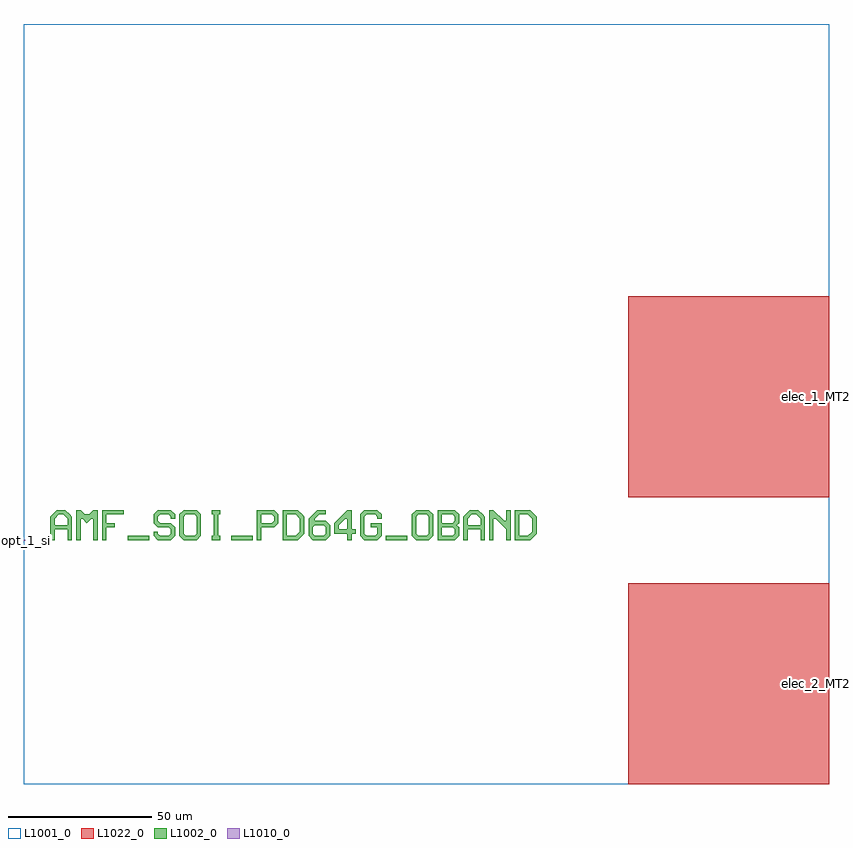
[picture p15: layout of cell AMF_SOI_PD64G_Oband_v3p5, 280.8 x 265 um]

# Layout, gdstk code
import gdstk
lib = gdstk.Library(unit=1e-6, precision=1e-09)
def R(c, l, rs):  # rectangles x0, y0, x1, y1
    for r in rs: c.add(gdstk.rectangle(r[:2], r[2:], *l))
def P(c, l, *ps):  # polygons
    for p in ps: c.add(gdstk.Polygon(p, *l))
L1001_0 = (1001, 0)
L1002_0 = (1002, 0)
L1010_0 = (1010, 0)
L1022_0 = (1022, 0)

amf_soi_pd64g_oband_v3p5 = lib.new_cell('AMF_SOI_PD64G_Oband_v3p5')
R(amf_soi_pd64g_oband_v3p5, L1001_0, [(0,-85,280.8,180)])
R(amf_soi_pd64g_oband_v3p5, L1002_0, [(36.258,0,43.758,1.5), (72.258,0,79.758,1.5), (126.258,0,133.758,1.5)])
P(amf_soi_pd64g_oband_v3p5, L1002_0, [(9.258,0),(9.258,8.25),(11.508,10.5),(14.508,10.5),(16.008,9),(12.258,9),(10.758,7.5),(10.758,5.25),(15.258,5.25),(15.258,7.5),(13.758,9),(16.008,9),(16.758,8.25),(16.758,0),(15.258,0),(15.258,3.75),(10.758,3.75),(10.758,0)],
  [(18.258,0),(18.258,10.5),(19.758,10.5),(21.258,9),(22.758,9),(24.258,10.5),(25.758,10.5),(25.758,0),(24.258,0),(24.258,7.5),(23.508,7.5),(22.008,6),(20.508,7.5),(19.758,7.5),(19.758,0)],
  [(27.258,0),(27.258,10.5),(34.758,10.5),(34.758,9),(28.758,9),(28.758,6),(31.758,6),(31.758,4.5),(28.758,4.5),(28.758,0)],
  [(46.758,0),(45.258,1.5),(45.258,3),(46.758,3),(46.758,2.25),(47.508,1.5),(50.508,1.5),(51.258,2.25),(51.258,3.75),(50.508,4.5),(46.758,4.5),(45.258,6),(45.258,9),(46.758,10.5),(51.258,10.5),(52.758,9),(52.758,7.5),(51.258,7.5),(51.258,8.25),(50.508,9),(47.508,9),(46.758,8.25),(46.758,6.75),(47.508,6),(51.258,6),(52.758,4.5),(52.758,1.5),(51.258,0)],
  [(55.758,0),(54.258,1.5),(54.258,9),(55.758,10.5),(60.258,10.5),(61.758,9),(61.758,5.25),(60.258,5.25),(60.258,8.25),(59.508,9),(56.508,9),(55.758,8.25),(55.758,2.25),(56.508,1.5),(59.508,1.5),(60.258,2.25),(60.258,5.25),(61.758,5.25),(61.758,1.5),(60.258,0)],
  [(65.508,0),(65.508,1.5),(66.258,1.5),(66.258,9),(65.508,9),(65.508,10.5),(68.508,10.5),(68.508,9),(67.758,9),(67.758,1.5),(68.508,1.5),(68.508,0)],
  [(81.258,0),(81.258,10.5),(87.258,10.5),(88.758,9),(88.758,6),(87.258,4.5),(82.758,4.5),(82.758,6),(86.508,6),(87.258,6.75),(87.258,8.25),(86.508,9),(82.758,9),(82.758,0)],
  [(90.258,0),(90.258,10.5),(95.508,10.5),(97.008,9),(91.758,9),(91.758,1.5),(94.758,1.5),(96.258,3),(96.258,7.5),(94.758,9),(97.008,9),(97.758,8.25),(97.758,2.25),(95.508,0)],
  [(100.758,0),(99.258,1.5),(99.258,7.5),(102.258,10.5),(105.258,10.5),(105.258,9),(103.008,9),(101.508,7.5),(101.508,6.75),(105.258,6.75),(106.758,5.25),(101.508,5.25),(100.758,4.5),(100.758,2.25),(101.508,1.5),(104.508,1.5),(105.258,2.25),(105.258,4.5),(104.508,5.25),(106.758,5.25),(106.758,1.5),(105.258,0)],
  [(112.758,0),(112.758,2.25),(108.258,2.25),(108.258,3.75),(112.758,3.75),(112.758,7.5),(112.008,7.5),(109.758,5.25),(109.758,3.75),(108.258,3.75),(108.258,6),(112.758,10.5),(114.258,10.5),(114.258,3.75),(115.758,3.75),(115.758,2.25),(114.258,2.25),(114.258,0)],
  [(118.758,0),(117.258,1.5),(117.258,9),(118.758,10.5),(123.258,10.5),(124.758,9),(124.758,7.5),(123.258,7.5),(123.258,8.25),(122.508,9),(119.508,9),(118.758,8.25),(118.758,2.25),(119.508,1.5),(122.508,1.5),(123.258,2.25),(123.258,4.5),(121.008,4.5),(121.008,6),(124.758,6),(124.758,1.5),(123.258,0)],
  [(136.758,0),(135.258,1.5),(135.258,9),(136.758,10.5),(141.258,10.5),(142.758,9),(142.758,5.25),(141.258,5.25),(141.258,8.25),(140.508,9),(137.508,9),(136.758,8.25),(136.758,2.25),(137.508,1.5),(140.508,1.5),(141.258,2.25),(141.258,5.25),(142.758,5.25),(142.758,1.5),(141.258,0)],
  [(144.258,0),(144.258,10.5),(150.258,10.5),(151.758,9),(145.758,9),(145.758,6),(149.508,6),(150.258,6.75),(150.258,8.25),(149.508,9),(151.758,9),(151.758,6),(151.008,5.25),(151.758,4.5),(145.758,4.5),(145.758,1.5),(149.508,1.5),(150.258,2.25),(150.258,3.75),(149.508,4.5),(151.758,4.5),(151.758,1.5),(150.258,0)],
  [(153.258,0),(153.258,8.25),(155.508,10.5),(158.508,10.5),(160.008,9),(156.258,9),(154.758,7.5),(154.758,5.25),(159.258,5.25),(159.258,7.5),(157.758,9),(160.008,9),(160.758,8.25),(160.758,0),(159.258,0),(159.258,3.75),(154.758,3.75),(154.758,0)],
  [(162.258,0),(162.258,10.5),(163.758,10.5),(167.508,6.75),(168.258,6.75),(168.258,10.5),(169.758,10.5),(169.758,0),(168.258,0),(168.258,3.75),(164.508,7.5),(163.758,7.5),(163.758,0)],
  [(171.258,0),(171.258,10.5),(176.508,10.5),(178.008,9),(172.758,9),(172.758,1.5),(175.758,1.5),(177.258,3),(177.258,7.5),(175.758,9),(178.008,9),(178.758,8.25),(178.758,2.25),(176.508,0)])
R(amf_soi_pd64g_oband_v3p5, L1010_0, [(0,-0.205,0.41,0.205)])
R(amf_soi_pd64g_oband_v3p5, L1022_0, [(210.8,-85,280.8,-15), (210.8,15,280.8,85)])
amf_soi_pd64g_oband_v3p5.add(gdstk.Label('opt_1_si', (0,0), layer=1010, texttype=0))
amf_soi_pd64g_oband_v3p5.add(gdstk.Label('elec_1_MT2', (280,50), layer=1022, texttype=0))
amf_soi_pd64g_oband_v3p5.add(gdstk.Label('elec_2_MT2', (280,-50), layer=1022, texttype=0))

lib.write_gds('AMF_SOI_PD64G_Oband_v3p5.gds')
